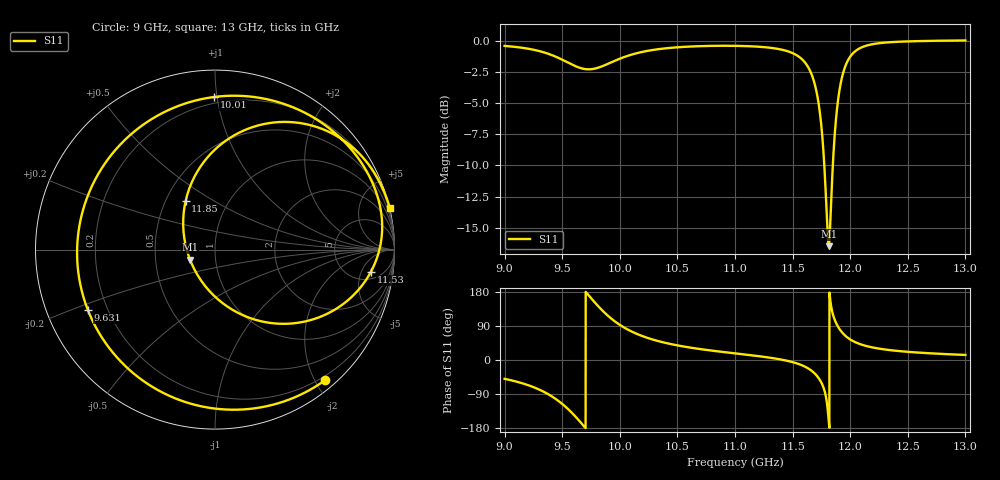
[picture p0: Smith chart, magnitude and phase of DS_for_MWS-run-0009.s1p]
! TOUCHSTONE file generated by CST DESIGN STUDIO
! Date and time: Tue Feb  4 17:52:00 2025
! Project name: C:\Work\MatlabApps\UnitCellOptimizationMatlab\CST\unitcell.cst
! Tree item: Tasks\Sweep1\SPara1\S-Parameters
! Header version: 2024
! Port assignment regex: !\s*Touchstone port\s*([0-9]+)\s*=\s*(CST MWS port|CST DES external port|CST DES block port)\s*(.+)\s* \(\"(.*)\"\)(\s*mode\s*([0-9]+))?.*
! Touchstone port assignment:
! Touchstone port 1 = CST DES external port 1 ("")
# GHz S MA R 50
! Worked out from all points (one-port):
!   4001 points, 9 GHz to 13 GHz, reference 50 ohm
!   lowest |S11| = -16.5 dB at 11.81 GHz (marker M1), VSWR 1.35, Z = 37.6 - j4.27 ohm
!   |S11| at or under -10 dB: 11.78 GHz to 11.85 GHz (73.94 MHz wide, 0.626 % of centre)
!   S11 on the Smith chart (normalised r, x): 9 GHz: 0.14, -2.15; 9.631 GHz: 0.13, -0.22; 10.01 GHz: 0.16, +0.98; 11.53 GHz: 7, -8; 11.85 GHz: 0.63, +0.38; 13 GHz: -0.04, +8.56
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9  0.9519 -49.7
9.261  0.9168 -72.9
9.396  0.8795 -93.3
9.5  0.8384 -115.8
9.631  0.7842 -154.6
9.702  0.7684 -179.5
9.773  0.7704 155.2
9.883  0.8018 120.6
10  0.846 92.8
10.012  0.8502 90.4
10.228  0.9071 59.6
10.5  0.9398 38.6
11  0.9525 17.5
11.5  0.8907 -5.6
11.528  0.8775 -8.1
11.644  0.7691 -23.9
11.728  0.5512 -48.6
11.771  0.3407 -75.1
11.813  0.1501 -158.3
11.827  0.1854 158.0
11.849  0.315 121.4
11.878  0.4923 97.3
11.914  0.661 78.8
12  0.8619 54.3
12.075  0.9272 43.1
12.172  0.9625 34.6
12.5  0.9923 21.5
13  1.001 13.3
